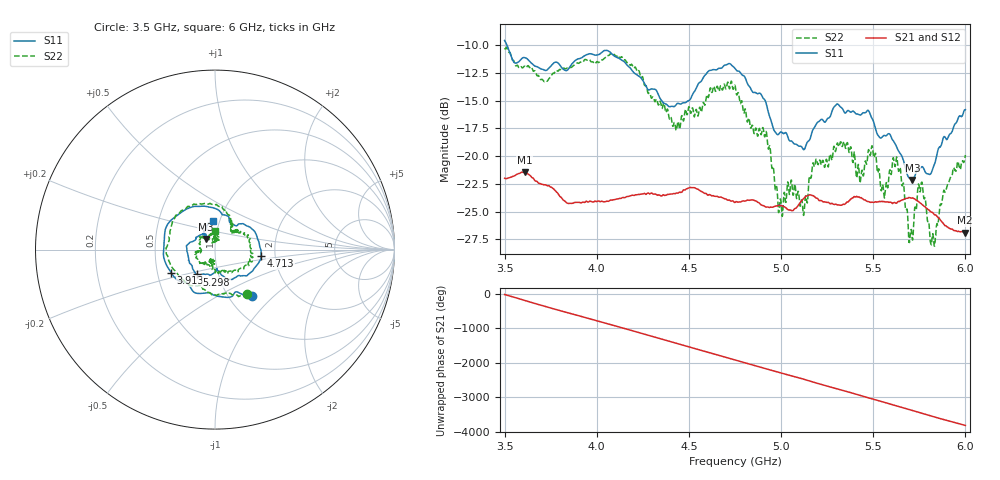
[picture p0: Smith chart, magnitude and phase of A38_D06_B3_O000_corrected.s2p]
! Created with skrf 1.9.0 (http://scikit-rf.org).
# Hz S RI R 50.0
!freq ReS11 ImS11 ReS21 ImS21 ReS12 ImS12 ReS22 ImS22
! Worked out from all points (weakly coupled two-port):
!   1601 points, 3.5 GHz to 6 GHz, reference 50 ohm
!   highest |S21| = -21.44 dB at 3.609 GHz (marker M1); lowest = -26.9 dB at 5.995 GHz (marker M2)
!   lowest |S11| = -22.2 dB at 5.713 GHz (marker M3), VSWR 1.17, Z = 44.9 + j5.4 ohm
!   |S11| at or under -10 dB: 3.513 GHz to end of sweep
!   |S22| runs from -28.1 to -10.2 dB; largest |S21 - S12| = 0.00095
!   S11 on the Smith chart (normalised r, x): 3.5 GHz: 1.27, -0.75; 3.913 GHz: 0.59, -0.17; 4.713 GHz: 1.69, -0.13; 5.298 GHz: 0.79, -0.23; 6 GHz: 0.93, +0.31
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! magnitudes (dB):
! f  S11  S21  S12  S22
! 3.5 GHz  -9.6  -22.0  -22.0  -10.3
! 3.609 GHz  -11.1  -21.4  -21.4  -11.9
! 3.913 GHz  -11.2  -24.2  -24.1  -11.5
! 3.917 GHz  -11.2  -24.2  -24.2  -11.5
! 4.127 GHz  -11.3  -23.8  -23.8  -11.2
! 4.334 GHz  -14.5  -23.5  -23.4  -15.4
! 4.441 GHz  -15.2  -23.3  -23.3  -16.9
! 4.713 GHz  -11.7  -24.0  -23.9  -13.4
! 4.75 GHz  -12.1  -24.2  -24.1  -13.6
! 4.912 GHz  -14.9  -24.5  -24.5  -18.2
! 4.997 GHz  -17.8  -24.4  -24.4  -23.9
! 5.047 GHz  -18.6  -24.8  -24.8  -23.4
! 5.13 GHz  -19.3  -23.7  -23.7  -24.0
! 5.167 GHz  -17.9  -23.5  -23.5  -21.4
! 5.298 GHz  -15.4  -24.3  -24.3  -19.4
! 5.584 GHz  -18.0  -24.2  -24.1  -21.9
! 5.636 GHz  -19.5  -24.1  -24.0  -21.2
! 5.713 GHz  -22.2  -23.7  -23.7  -27.5
! 5.756 GHz  -21.1  -24.2  -24.2  -23.1
! 5.823 GHz  -21.1  -25.1  -25.0  -27.0
! 5.995 GHz  -15.8  -26.9  -26.8  -20.4
! 6 GHz  -15.8  -26.9  -26.8  -19.9
